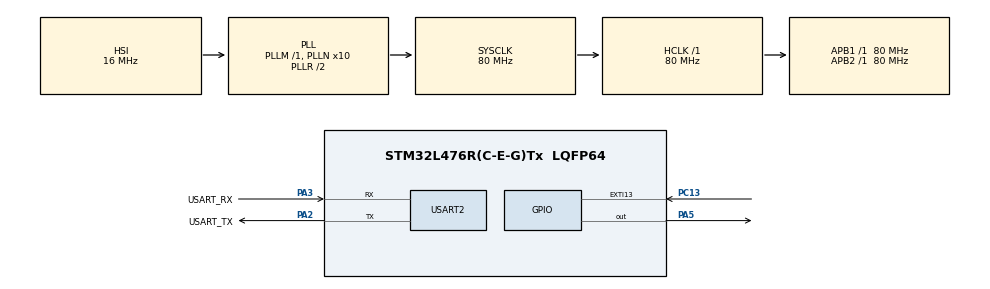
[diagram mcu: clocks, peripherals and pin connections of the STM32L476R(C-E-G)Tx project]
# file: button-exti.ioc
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Mcu.Family=STM32L4
Mcu.Name=STM32L476R(C-E-G)Tx
Mcu.Package=LQFP64
NUCLEO-L476RG.BUTTON=1
NUCLEO-L476RG.LD2=true
NVIC.EXTI15_10_IRQn=true\:0\:0\:false\:false\:true\:false\:true\:true
NVIC.PriorityGroup=NVIC_PRIORITYGROUP_4
PA13\ (JTMS-SWDIO).GPIO_Label=TMS
PA13\ (JTMS-SWDIO).Mode=Serial_Wire
PA13\ (JTMS-SWDIO).Signal=SYS_JTMS-SWDIO
PA14\ (JTCK-SWCLK).GPIO_Label=TCK
PA14\ (JTCK-SWCLK).Mode=Serial_Wire
PA14\ (JTCK-SWCLK).Signal=SYS_JTCK-SWCLK
PA2.GPIO_Label=USART_TX
PA2.GPIO_Mode=GPIO_MODE_AF_PP
PA2.GPIO_PuPd=GPIO_NOPULL
PA2.GPIO_Speed=GPIO_SPEED_FREQ_VERY_HIGH
PA2.Mode=Asynchronous
PA2.Signal=USART2_TX
PA3.GPIO_Label=USART_RX
PA3.GPIO_Mode=GPIO_MODE_AF_PP
PA3.GPIO_PuPd=GPIO_NOPULL
PA3.GPIO_Speed=GPIO_SPEED_FREQ_VERY_HIGH
PA3.Mode=Asynchronous
PA3.Signal=USART2_RX
PA5.Signal=GPIO_Output
PB3\ (JTDO-TRACESWO).GPIO_Label=SWO
PB3\ (JTDO-TRACESWO).Signal=SYS_JTDO-SWO
PC13.Signal=GPXTI13
PC14-OSC32_IN\ (PC14).Mode=LSE-External-Oscillator
PC14-OSC32_IN\ (PC14).Signal=RCC_OSC32_IN
PC15-OSC32_OUT\ (PC15).Mode=LSE-External-Oscillator
PC15-OSC32_OUT\ (PC15).Signal=RCC_OSC32_OUT
PH0-OSC_IN\ (PH0).Signal=RCC_OSC_IN
PH1-OSC_OUT\ (PH1).Signal=RCC_OSC_OUT
ProjectManager.HeapSize=0x200
ProjectManager.StackSize=0x400
ProjectManager.TargetToolchain=CMake
RCC.ADCFreq_Value=64000000
RCC.AHBFreq_Value=80000000
RCC.APB1Freq_Value=80000000
RCC.APB1TimFreq_Value=80000000
RCC.APB2Freq_Value=80000000
RCC.APB2TimFreq_Value=80000000
RCC.CortexFreq_Value=80000000
RCC.HCLKFreq_Value=80000000
RCC.HSE_VALUE=8000000
RCC.HSI_VALUE=16000000
RCC.MSI_VALUE=4000000
RCC.PLLN=10
RCC.PLLSourceVirtual=RCC_PLLSOURCE_HSI
RCC.PREFETCH_ENABLE=1
RCC.SYSCLKFreq_VALUE=80000000
RCC.SYSCLKSource=RCC_SYSCLKSOURCE_PLLCLK
RCC.USBFreq_Value=64000000
RCC.VCOOutputFreq_Value=160000000
USART2.VirtualMode-Asynchronous=VM_ASYNC
VP_NUCLEO-L476RG_VS_BSP_COMMON.Mode=COMMON
board=NUCLEO-L476RG

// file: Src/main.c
/* USER CODE BEGIN Header */
/**
  ******************************************************************************
  * @file           : main.c
  * @brief          : Main program body
  ******************************************************************************
  * @attention
  *
  * Copyright (c) 2026 STMicroelectronics.
  * All rights reserved.
  *
  * This software is licensed under terms that can be found in the LICENSE file
  * in the root directory of this software component.
  * If no LICENSE file comes with this software, it is provided AS-IS.
  *
  ******************************************************************************
  */
/* USER CODE END Header */
#include "main.h"

/* USER CODE BEGIN Includes */
#include <stdio.h>
/* USER CODE END Includes */

/* USER CODE BEGIN PD */
#define DEBOUNCE_MS 50U
/* USER CODE END PD */

UART_HandleTypeDef huart2;

/* USER CODE BEGIN PV */
volatile uint32_t press_count = 0;
/* USER CODE END PV */

void SystemClock_Config(void);
static void MX_GPIO_Init(void);
static void MX_USART2_UART_Init(void);

int main(void)
{

  /* MCU Configuration--------------------------------------------------------*/

  /* Reset of all peripherals, Initializes the Flash interface and the Systick. */
  HAL_Init();

  /* Configure the system clock */
  SystemClock_Config();

  /* Initialize all configured peripherals */
  MX_GPIO_Init();
  MX_USART2_UART_Init();
  /* USER CODE BEGIN 2 */
  printf("button-exti: press B1, watch the count\r\n");
  uint32_t printed_count = 0;
  /* USER CODE END 2 */

  /* Initialize leds */
  BSP_LED_Init(LED_GREEN);

  /* Initialize USER push-button, will be used to trigger an interrupt each time it's pressed.*/
  BSP_PB_Init(BUTTON_USER, BUTTON_MODE_EXTI);

  /* Infinite loop */
  /* USER CODE BEGIN WHILE */
  while (1)
  {
    /* ISR only counts and toggles; printing stays out here in thread mode */
    if (press_count != printed_count)
    {
      printed_count = press_count;
      printf("press #%lu\r\n", (unsigned long)printed_count);
    }
    /* USER CODE END WHILE */

  }
}

void SystemClock_Config(void)
{
  RCC_OscInitTypeDef RCC_OscInitStruct = {0};
  RCC_ClkInitTypeDef RCC_ClkInitStruct = {0};

  /** Configure the main internal regulator output voltage
  */
  if (HAL_PWREx_ControlVoltageScaling(PWR_REGULATOR_VOLTAGE_SCALE1) != HAL_OK)
  {
    Error_Handler();
  }

  /** Initializes the RCC Oscillators according to the specified parameters
  * in the RCC_OscInitTypeDef structure.
  */
  RCC_OscInitStruct.OscillatorType = RCC_OSCILLATORTYPE_HSI;
  RCC_OscInitStruct.HSIState = RCC_HSI_ON;
  RCC_OscInitStruct.HSICalibrationValue = RCC_HSICALIBRATION_DEFAULT;
  RCC_OscInitStruct.PLL.PLLState = RCC_PLL_ON;
  RCC_OscInitStruct.PLL.PLLSource = RCC_PLLSOURCE_HSI;
  RCC_OscInitStruct.PLL.PLLM = 1;
  RCC_OscInitStruct.PLL.PLLN = 10;
  RCC_OscInitStruct.PLL.PLLP = RCC_PLLP_DIV7;
  RCC_OscInitStruct.PLL.PLLQ = RCC_PLLQ_DIV2;
  RCC_OscInitStruct.PLL.PLLR = RCC_PLLR_DIV2;
  if (HAL_RCC_OscConfig(&RCC_OscInitStruct) != HAL_OK)
  {
    Error_Handler();
  }

  /** Initializes the CPU, AHB and APB buses clocks
  */
  RCC_ClkInitStruct.ClockType = RCC_CLOCKTYPE_HCLK|RCC_CLOCKTYPE_SYSCLK
                              |RCC_CLOCKTYPE_PCLK1|RCC_CLOCKTYPE_PCLK2;
  RCC_ClkInitStruct.SYSCLKSource = RCC_SYSCLKSOURCE_PLLCLK;
  RCC_ClkInitStruct.AHBCLKDivider = RCC_SYSCLK_DIV1;
  RCC_ClkInitStruct.APB1CLKDivider = RCC_HCLK_DIV1;
  RCC_ClkInitStruct.APB2CLKDivider = RCC_HCLK_DIV1;

  if (HAL_RCC_ClockConfig(&RCC_ClkInitStruct, FLASH_LATENCY_4) != HAL_OK)
  {
    Error_Handler();
  }
}

static void MX_USART2_UART_Init(void)
{

  huart2.Instance = USART2;
  huart2.Init.BaudRate = 115200;
  huart2.Init.WordLength = UART_WORDLENGTH_8B;
  huart2.Init.StopBits = UART_STOPBITS_1;
  huart2.Init.Parity = UART_PARITY_NONE;
  huart2.Init.Mode = UART_MODE_TX_RX;
  huart2.Init.HwFlowCtl = UART_HWCONTROL_NONE;
  huart2.Init.OverSampling = UART_OVERSAMPLING_16;
  huart2.Init.OneBitSampling = UART_ONE_BIT_SAMPLE_DISABLE;
  huart2.AdvancedInit.AdvFeatureInit = UART_ADVFEATURE_NO_INIT;
  if (HAL_UART_Init(&huart2) != HAL_OK)
  {
    Error_Handler();
  }

}

static void MX_GPIO_Init(void)
{

  /* GPIO Ports Clock Enable */
  __HAL_RCC_GPIOC_CLK_ENABLE();
  __HAL_RCC_GPIOH_CLK_ENABLE();
  __HAL_RCC_GPIOA_CLK_ENABLE();
  __HAL_RCC_GPIOB_CLK_ENABLE();

}

/* USER CODE BEGIN 4 */
int __io_putchar(int ch)
{
  HAL_UART_Transmit(&huart2, (uint8_t *)&ch, 1, HAL_MAX_DELAY);
  return ch;
}

void HAL_GPIO_EXTI_Callback(uint16_t GPIO_Pin)
{
  if (GPIO_Pin == USER_BUTTON_PIN)
  {
    /* Tick-based guard: ignore edges within DEBOUNCE_MS of the last accepted
     * press. B1 has a 100nF cap on this board, so this is belt-and-suspenders —
     * but it's the pattern to reach for on switches without hardware filtering.
     * Reading HAL_GetTick() in an ISR is safe; it just doesn't advance here. */
    static uint32_t last_press_tick = 0;
    uint32_t now = HAL_GetTick();
    if (now - last_press_tick < DEBOUNCE_MS)
    {
      return;
    }
    last_press_tick = now;
    press_count++;
    BSP_LED_Toggle(LED_GREEN);
  }
}
/* USER CODE END 4 */

void Error_Handler(void)
{
  __disable_irq();
  while (1)
  {
  }
}
